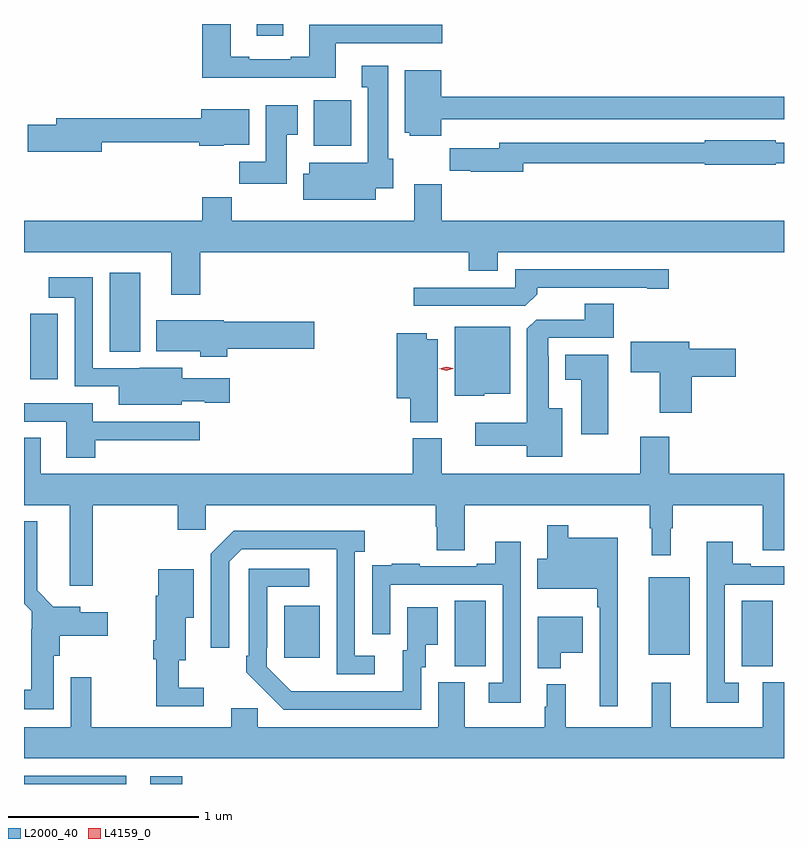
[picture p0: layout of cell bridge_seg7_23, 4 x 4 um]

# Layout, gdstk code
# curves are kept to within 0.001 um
import gdstk
lib = gdstk.Library(unit=1e-6, precision=1e-09)
def R(c, l, rs):  # rectangles x0, y0, x1, y1
    for r in rs: c.add(gdstk.rectangle(r[:2], r[2:], *l))
def P(c, l, *ps):  # polygons
    for p in ps: c.add(gdstk.Polygon(p, *l))
L2000_40 = (2000, 40)
L4159_0 = (4159, 0)

bridge_seg7_23 = lib.new_cell('bridge_seg7_23')
R(bridge_seg7_23, L2000_40, [(1045.99,1048.432,1046.527,1048.476), (1046.654,1048.432,1046.824,1048.474), (1048.256,1049.053,1048.42,1049.396), (1049.768,1049.053,1049.932,1049.396), (1047.359,1049.097,1047.547,1049.371), (1049.279,1049.111,1049.494,1049.521), (1046.024,1050.561,1046.167,1050.907), (1046.441,1050.707,1046.602,1051.123), (1047.515,1051.79,1047.712,1052.032), (1047.215,1052.37,1047.355,1052.432)])
P(bridge_seg7_23, L2000_40, [(1047.631,1052.331),(1048.192,1052.331),(1048.192,1052.428),(1047.491,1052.428),(1047.491,1052.26),(1047.395,1052.26),(1047.395,1052.247),(1047.175,1052.247),(1047.175,1052.26),(1047.079,1052.26),(1047.079,1052.432),(1046.927,1052.432),(1046.927,1052.15),(1047.631,1052.15)],
  [(1047.841,1051.568),(1047.934,1051.568),(1047.934,1051.722),(1047.907,1051.722),(1047.907,1052.212),(1047.767,1052.212),(1047.767,1052.099),(1047.8,1052.099),(1047.8,1051.702),(1047.491,1051.702),(1047.491,1051.643),(1047.461,1051.643),(1047.461,1051.508),(1047.841,1051.508)],
  [(1048.186,1051.931),(1048.394,1051.931),(1048.394,1051.932),(1049.99,1051.932),(1049.99,1052.048),(1048.187,1052.048),(1048.187,1052.188),(1047.995,1052.188),(1047.995,1051.86),(1048.02,1051.86),(1048.02,1051.844),(1048.186,1051.844)],
  [(1047.373,1051.849),(1047.43,1051.849),(1047.43,1052.005),(1047.263,1052.005),(1047.263,1051.708),(1047.124,1051.708),(1047.124,1051.59),(1047.373,1051.59)],
  [(1046.398,1051.809),(1046.912,1051.809),(1046.912,1051.79),(1047.042,1051.79),(1047.042,1051.796),(1047.175,1051.796),(1047.175,1051.984),(1046.924,1051.984),(1046.924,1051.937),(1046.159,1051.937),(1046.159,1051.901),(1046.01,1051.901),(1046.01,1051.759),(1046.398,1051.759)],
  [(1048.618,1051.698),(1049.574,1051.698),(1049.574,1051.69),(1049.946,1051.69),(1049.946,1051.698),(1049.99,1051.698),(1049.99,1051.806),(1049.946,1051.806),(1049.946,1051.819),(1049.574,1051.819),(1049.574,1051.806),(1048.49,1051.806),(1048.49,1051.777),(1048.231,1051.777),(1048.231,1051.659),(1048.342,1051.659),(1048.342,1051.655),(1048.618,1051.655)],
  [(1046.918,1051.232),(1048.331,1051.232),(1048.331,1051.133),(1048.483,1051.133),(1048.483,1051.232),(1049.99,1051.232),(1049.99,1051.396),(1048.189,1051.396),(1048.189,1051.589),(1048.043,1051.589),(1048.043,1051.396),(1047.083,1051.396),(1047.083,1051.52),(1046.927,1051.52),(1046.927,1051.396),(1045.99,1051.396),(1045.99,1051.232),(1046.765,1051.232),(1046.765,1051.008),(1046.918,1051.008)],
  [(1048.691,1051.01),(1048.691,1051.044),(1049.27,1051.044),(1049.27,1051.039),(1049.383,1051.039),(1049.383,1051.14),(1048.575,1051.14),(1048.575,1051.044),(1048.041,1051.044),(1048.041,1050.948),(1048.629,1050.948)],
  [(1046.82,1050.446),(1046.94,1050.446),(1046.94,1050.439),(1047.073,1050.439),(1047.073,1050.568),(1046.824,1050.568),(1046.824,1050.622),(1046.598,1050.622),(1046.598,1050.621),(1046.352,1050.621),(1046.352,1051.099),(1046.121,1051.099),(1046.121,1050.992),(1046.256,1050.992),(1046.256,1050.525),(1046.489,1050.525),(1046.489,1050.428),(1046.82,1050.428)],
  [(1048.822,1050.409),(1048.753,1050.409),(1048.753,1050.683),(1048.749,1050.683),(1048.749,1050.78),(1049.093,1050.78),(1049.093,1050.959),(1048.94,1050.959),(1048.94,1050.876),(1048.686,1050.876),(1048.637,1050.827),(1048.637,1050.334),(1048.365,1050.334),(1048.365,1050.212),(1048.637,1050.212),(1048.637,1050.155),(1048.822,1050.155)],
  [(1047.059,1050.722),(1047.517,1050.722),(1047.517,1050.864),(1047.042,1050.864),(1047.042,1050.874),(1046.687,1050.874),(1046.687,1050.71),(1046.917,1050.71),(1046.917,1050.68),(1047.059,1050.68)],
  [(1048.413,1050.485),(1048.549,1050.485),(1048.549,1050.838),(1048.256,1050.838),(1048.256,1050.476),(1048.413,1050.476)],
  [(1048.168,1050.772),(1048.111,1050.772),(1048.111,1050.805),(1047.953,1050.805),(1047.953,1050.461),(1048.022,1050.461),(1048.022,1050.337),(1048.168,1050.337)],
  [(1049.504,1050.575),(1049.737,1050.575),(1049.737,1050.722),(1049.491,1050.722),(1049.491,1050.76),(1049.184,1050.76),(1049.184,1050.598),(1049.336,1050.598),(1049.336,1050.387),(1049.504,1050.387)],
  [(1049.065,1050.691),(1048.838,1050.691),(1048.838,1050.56),(1048.922,1050.56),(1048.922,1050.273),(1049.065,1050.273)],
  [(1046.366,1050.242),(1046.914,1050.242),(1046.914,1050.339),(1046.353,1050.339),(1046.353,1050.435),(1045.99,1050.435),(1045.99,1050.339),(1046.213,1050.339),(1046.213,1050.15),(1046.366,1050.15)],
  [(1046.353,1049.9),(1046.8,1049.9),(1046.8,1049.769),(1046.946,1049.769),(1046.946,1049.9),(1048.157,1049.9),(1048.157,1049.787),(1048.162,1049.787),(1048.162,1049.662),(1048.309,1049.662),(1048.309,1049.9),(1049.283,1049.9),(1049.283,1049.777),(1049.294,1049.777),(1049.294,1049.637),(1049.393,1049.637),(1049.393,1049.777),(1049.404,1049.777),(1049.404,1049.9),(1049.879,1049.9),(1049.879,1049.662),(1049.99,1049.662),(1049.99,1050.064),(1049.387,1050.064),(1049.387,1050.259),(1049.234,1050.259),(1049.234,1050.064),(1048.189,1050.064),(1048.189,1050.252),(1048.037,1050.252),(1048.037,1050.064),(1046.077,1050.064),(1046.077,1050.254),(1045.99,1050.254),(1045.99,1049.9),(1046.231,1049.9),(1046.231,1049.475),(1046.353,1049.475)],
  [(1046.146,1049.106),(1046.177,1049.106),(1046.177,1049.213),(1046.43,1049.213),(1046.43,1049.335),(1046.287,1049.335),(1046.287,1049.365),(1046.145,1049.365),(1046.059,1049.452),(1046.059,1049.815),(1045.99,1049.815),(1045.99,1049.381),(1046.031,1049.34),(1046.031,1049.246),(1046.027,1049.246),(1046.027,1048.927),(1045.99,1048.927),(1045.99,1048.826),(1046.146,1048.826)],
  [(1049.116,1049.728),(1048.855,1049.728),(1048.855,1049.794),(1048.745,1049.794),(1048.745,1049.617),(1048.692,1049.617),(1048.692,1049.459),(1049.007,1049.459),(1049.007,1049.363),(1049.019,1049.363),(1049.019,1048.842),(1049.116,1048.842)],
  [(1047.835,1049.106),(1047.732,1049.106),(1047.732,1049.654),(1047.784,1049.654),(1047.784,1049.764),(1047.094,1049.764),(1046.973,1049.643),(1046.973,1049.148),(1047.069,1049.148),(1047.069,1049.601),(1047.135,1049.667),(1047.635,1049.667),(1047.636,1049.01),(1047.835,1049.01)],
  [(1049.752,1048.965),(1049.679,1048.965),(1049.679,1049.481),(1049.99,1049.481),(1049.99,1049.577),(1049.815,1049.577),(1049.815,1049.59),(1049.719,1049.59),(1049.719,1049.707),(1049.583,1049.707),(1049.583,1048.86),(1049.752,1048.86)],
  [(1048.605,1049.707),(1048.469,1049.707),(1048.469,1049.59),(1048.373,1049.59),(1048.373,1049.577),(1048.073,1049.577),(1048.073,1049.59),(1047.925,1049.59),(1047.925,1049.583),(1047.823,1049.583),(1047.823,1049.474),(1047.822,1049.474),(1047.822,1049.22),(1047.918,1049.22),(1047.918,1049.481),(1048.509,1049.481),(1048.509,1048.965),(1048.437,1048.965),(1048.437,1048.86),(1048.605,1048.86)],
  [(1048.08,1049.046),(1048.105,1049.046),(1048.105,1049.165),(1048.168,1049.165),(1048.168,1049.362),(1048.007,1049.362),(1048.007,1049.136),(1047.983,1049.136),(1047.983,1048.92),(1047.396,1048.921),(1047.267,1049.049),(1047.267,1049.149),(1047.27,1049.149),(1047.27,1049.469),(1047.49,1049.469),(1047.49,1049.565),(1047.174,1049.565),(1047.174,1049.107),(1047.159,1049.107),(1047.159,1049.019),(1047.356,1048.824),(1048.08,1048.824)],
  [(1046.935,1048.939),(1046.805,1048.939),(1046.805,1049.084),(1046.842,1049.084),(1046.842,1049.306),(1046.884,1049.306),(1046.884,1049.563),(1046.696,1049.563),(1046.696,1049.424),(1046.684,1049.424),(1046.684,1049.188),(1046.669,1049.188),(1046.669,1049.088),(1046.685,1049.088),(1046.685,1048.842),(1046.935,1048.842)],
  [(1048.816,1049.123),(1048.93,1049.123),(1048.93,1049.311),(1048.694,1049.311),(1048.694,1049.042),(1048.816,1049.042)],
  [(1049.99,1048.968),(1049.879,1048.968),(1049.879,1048.732),(1049.393,1048.732),(1049.393,1048.966),(1049.294,1048.966),(1049.294,1048.732),(1048.841,1048.732),(1048.841,1048.957),(1048.742,1048.957),(1048.742,1048.839),(1048.731,1048.839),(1048.731,1048.732),(1048.309,1048.732),(1048.309,1048.968),(1048.169,1048.968),(1048.169,1048.732),(1047.219,1048.732),(1047.219,1048.83),(1047.08,1048.83),(1047.08,1048.732),(1046.344,1048.732),(1046.344,1048.993),(1046.235,1048.993),(1046.235,1048.732),(1045.99,1048.732),(1045.99,1048.568),(1049.99,1048.568)])
P(bridge_seg7_23, L4159_0, [(1048.212,1050.608),(1048.175,1050.618),(1048.175,1050.618),(1048.175,1050.618),(1048.212,1050.628),(1048.249,1050.619),(1048.249,1050.618),(1048.249,1050.618)])

lib.write_gds('bridge_seg7_23.gds')
